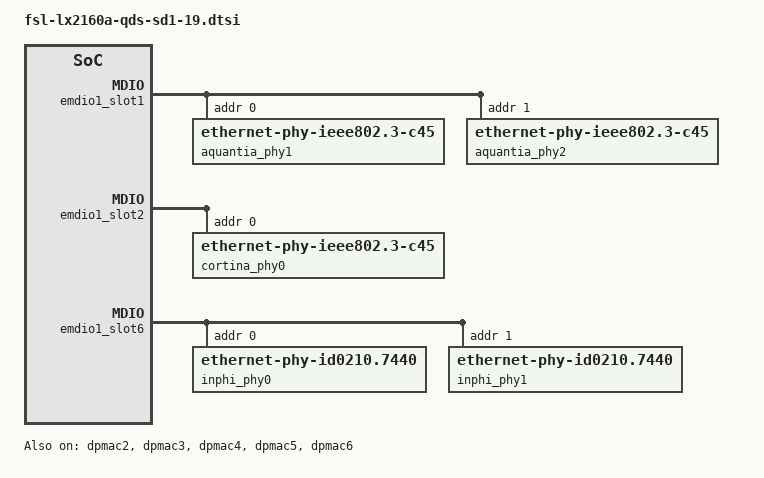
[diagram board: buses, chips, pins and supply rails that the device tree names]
// SPDX-License-Identifier: GPL-2.0+ OR X11
/*
 * NXP LX2160AQDS device tree source for the SERDES block #1 - protocol 19
 *
 * Some assumptions are made:
 *    * mezzanine card M11 is connected to IO SLOT1 (usxgmii for DPMAC 3,4)
 *    * mezzanine card M13 is connected to IO SLOT6 (25g-aui for DPMAC 5,6)
 *    * mezzanine card M7 is connected to IO SLOT2 (xlaui4 for DPMAC 2)
 *
 * Copyright 2020 NXP
 *
 */

#include "fsl-lx2160a-qds.dtsi"

&dpmac2 {
	status = "okay";
	phy-handle = <&cortina_phy0>;
	phy-connection-type = "xlaui4";
};

&dpmac3 {
	status = "okay";
	phy-handle = <&aquantia_phy1>;
	phy-connection-type = "usxgmii";
};

&dpmac4 {
	status = "okay";
	phy-handle = <&aquantia_phy2>;
	phy-connection-type = "usxgmii";
};

&dpmac5 {
	status = "okay";
	phy-handle = <&inphi_phy0>;
	phy-connection-type = "25g-aui";
};

&dpmac6 {
	status = "okay";
	phy-handle = <&inphi_phy1>;
	phy-connection-type = "25g-aui";
};

&emdio1_slot1 {
	aquantia_phy1: ethernet-phy@4 {
		compatible = "ethernet-phy-ieee802.3-c45";
		reg = <0x0>;
	};

	aquantia_phy2: ethernet-phy@5 {
		compatible = "ethernet-phy-ieee802.3-c45";
		reg = <0x1>;
	};
};

&emdio1_slot2 {
	cortina_phy0: ethernet-phy@0 {
		compatible = "ethernet-phy-ieee802.3-c45";
		reg = <0x0>;
	};
};

&emdio1_slot6 {
	inphi_phy0: ethernet-phy@0 {
		compatible = "ethernet-phy-id0210.7440";
		reg = <0x0>;
	};

	inphi_phy1: ethernet-phy@1 {
		compatible = "ethernet-phy-id0210.7440";
		reg = <0x1>;
	};
};
